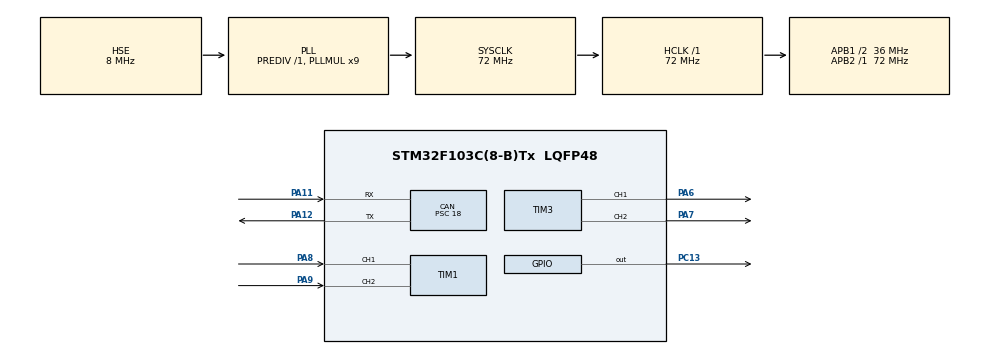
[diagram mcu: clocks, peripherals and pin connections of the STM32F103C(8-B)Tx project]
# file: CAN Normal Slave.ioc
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CAN.BS1=CAN_BS1_2TQ
CAN.CalculateBaudRate=500000
CAN.CalculateTimeBit=2000
CAN.CalculateTimeQuantum=500.0
CAN.Prescaler=18
Mcu.Family=STM32F1
Mcu.Name=STM32F103C(8-B)Tx
Mcu.Package=LQFP48
NVIC.CAN1_RX1_IRQn=true\:0\:0\:false\:false\:true\:true\:true\:true
NVIC.PriorityGroup=NVIC_PRIORITYGROUP_4
NVIC.TIM1_BRK_IRQn=true\:0\:0\:false\:false\:true\:true\:true\:true
NVIC.TIM1_UP_IRQn=true\:0\:0\:false\:false\:true\:true\:true\:true
NVIC.TIM3_IRQn=true\:0\:0\:false\:false\:true\:true\:true\:true
PA11.Mode=CAN_Activate
PA11.Signal=CAN_RX
PA12.Mode=CAN_Activate
PA12.Signal=CAN_TX
PA13.Mode=Serial_Wire
PA13.Signal=SYS_JTMS-SWDIO
PA14.Mode=Serial_Wire
PA14.Signal=SYS_JTCK-SWCLK
PA6.Signal=S_TIM3_CH1
PA7.Signal=S_TIM3_CH2
PA8.Signal=S_TIM1_CH1
PA9.Signal=S_TIM1_CH2
PC13-TAMPER-RTC.Signal=GPIO_Output
PD0-OSC_IN.Mode=HSE-External-Oscillator
PD0-OSC_IN.Signal=RCC_OSC_IN
PD1-OSC_OUT.Mode=HSE-External-Oscillator
PD1-OSC_OUT.Signal=RCC_OSC_OUT
ProjectManager.HeapSize=0x200
ProjectManager.StackSize=0x400
ProjectManager.TargetToolchain=MDK-ARM V5.32
RCC.AHBFreq_Value=72000000
RCC.APB1CLKDivider=RCC_HCLK_DIV2
RCC.APB1Freq_Value=36000000
RCC.APB1TimFreq_Value=72000000
RCC.APB2Freq_Value=72000000
RCC.APB2TimFreq_Value=72000000
RCC.HCLKFreq_Value=72000000
RCC.PLLMUL=RCC_PLL_MUL9
RCC.PLLSourceVirtual=RCC_PLLSOURCE_HSE
RCC.SYSCLKFreq_VALUE=72000000
RCC.SYSCLKSource=RCC_SYSCLKSOURCE_PLLCLK
RCC.USBFreq_Value=72000000
SH.S_TIM1_CH1.0=TIM1_CH1,Encoder_Interface
SH.S_TIM1_CH2.0=TIM1_CH2,Encoder_Interface
SH.S_TIM3_CH1.0=TIM3_CH1,PWM Generation1 CH1
SH.S_TIM3_CH2.0=TIM3_CH2,PWM Generation2 CH2
TIM3.Channel-PWM\ Generation1\ CH1=TIM_CHANNEL_1
TIM3.Channel-PWM\ Generation2\ CH2=TIM_CHANNEL_2
board=custom

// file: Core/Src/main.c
/* USER CODE BEGIN Header */
/**
  ******************************************************************************
  * @file           : main.c
  * @brief          : Main program body
  ******************************************************************************
  * @attention
  *
  * Copyright (c) 2022 STMicroelectronics.
  * All rights reserved.
  *
  * This software is licensed under terms that can be found in the LICENSE file
  * in the root directory of this software component.
  * If no LICENSE file comes with this software, it is provided AS-IS.
  *
  ******************************************************************************
  */
/* USER CODE END Header */
#include "main.h"

/* USER CODE BEGIN Includes */
float a;int b,check;
#include "stdio.h"
#include "string.h"
/* USER CODE END Includes */

CAN_HandleTypeDef hcan;

TIM_HandleTypeDef htim1;
TIM_HandleTypeDef htim3;

/* USER CODE BEGIN PV */
int echo=0;                                               ////////////////////////////////////////////////
long int enc01;
long int targetPosition =0; //the PID will try to reach this value
long int motorPosition = 0;
float proportional =20; //k_p = 0.5
float integral = 0.0003; //k_i = 3
float derivative =330; //k_d = 1
double controlSignal = 0; //u - Also called as process variable (PV)
//-----------------------------------
//-----------------------------------
//PID-related
float previousTime = 0; //for calculating delta t
float previousError = 0; //for calculating the derivative (edot)
float errorIntegral = 0; //integral error
float currentTime = 0; //time in the moment of calculation
float deltaTime = 0; //time difference
float errorValue = 0; //error
float edot = 0; //derivative (de/dt)
/* USER CODE END PV */

void SystemClock_Config(void);
static void MX_GPIO_Init(void);
static void MX_CAN_Init(void);
static void MX_TIM3_Init(void);
static void MX_TIM1_Init(void);
/* USER CODE BEGIN PFP */
void calculatePID();

/* USER CODE END PFP */

/* USER CODE BEGIN 0 */

CAN_TxHeaderTypeDef   TxHeader;
CAN_RxHeaderTypeDef   RxHeader;
uint8_t               TxData[3];
uint8_t               RxData[9];
uint8_t               re[3];
uint32_t              TxMailbox;
int datacheck=0;
int recev;
void func(void);
int angle=0,aout;

void func(void)
{
	angle=(re[0]*100)+(re[1]*10)+(re[2]*1);
	if(angle>=0&&angle<=180){targetPosition =228.85*angle;}
}
void HAL_CAN_RxFifo1MsgPendingCallback(CAN_HandleTypeDef *hcan)
{
	recev=1;
	HAL_CAN_GetRxMessage(hcan,CAN_RX_FIFO1,&RxHeader,RxData);
	re[0]=RxData[0];
	re[1]=RxData[1];
	re[2]=RxData[2];
	func();
	   }

/* USER CODE END 0 */

int main(void)
{

  /* MCU Configuration--------------------------------------------------------*/

  /* Reset of all peripherals, Initializes the Flash interface and the Systick. */
  HAL_Init();

  /* Configure the system clock */
  SystemClock_Config();

  /* Initialize all configured peripherals */
  MX_GPIO_Init();
  MX_CAN_Init();
  MX_TIM3_Init();
  MX_TIM1_Init();
  /* USER CODE BEGIN 2 */

//HAL_CAN_Init(&hcan);
  HAL_CAN_Start(&hcan);
HAL_CAN_ActivateNotification(&hcan, CAN_IT_RX_FIFO1_MSG_PENDING);
TxHeader.DLC =3;
RxHeader.DLC =9;
TxHeader.IDE = CAN_ID_STD;
TxHeader.RTR = CAN_RTR_DATA;
TxHeader.StdId = 0x124;
TxHeader.TransmitGlobalTime=DISABLE;
TxHeader.ExtId=0;

 HAL_TIM_Encoder_Start(&htim1, TIM_CHANNEL_ALL);
  HAL_TIM_PWM_Start(&htim3, TIM_CHANNEL_1);
  HAL_TIM_PWM_Start(&htim3, TIM_CHANNEL_2);
  TIM3->CCR2 = 0;
  TIM3->CCR1 = 0;
  TIM1->CNT=32768;
  /* USER CODE END 2 */

  /* Infinite loop */
  /* USER CODE BEGIN WHILE */
	int i=0;
  while (1)
  {
    /* USER CODE END WHILE */

    /* USER CODE BEGIN 3 */

		//HAL_CAN_AddTxMessage(&hcan,&TxHeader,TxData,&TxMailbox);
	if(datacheck==50)
	{
		if(motorPosition>=0){
	 aout=motorPosition/228.85;
			 TxData[0]=(uint8_t)aout/100;
		   TxData[1]=(uint8_t)(aout/10)%10;
		   TxData[2]=(uint8_t)aout%10;
	     HAL_CAN_AddTxMessage(&hcan,&TxHeader,TxData,&TxMailbox);

		}
		datacheck=0;
	}
			 datacheck++;
		  func();
		          enc01=((TIM1->CNT));
	            TIM1->CNT=32768;
	             motorPosition=motorPosition+(enc01-32768);
		           calculatePID();
	             	HAL_Delay(10);
	            if(controlSignal>=0)
	            {
	            	if((int)controlSignal>65530)
	            	{
	            		TIM3->CCR2 = 0;
	            		TIM3->CCR1 = 65535;
	            	}
	            	else
	            	{
	            		TIM3->CCR2 = 0;
	            		TIM3->CCR1 = (int)controlSignal;
	            	}
	            }
	            else
	            {
	            	if((int)controlSignal<-65530)
	            	{
	            		TIM3->CCR1 = 0;
	            		TIM3->CCR2 = 65535;
	            	}
	            	else
	            	{
	            		TIM3->CCR1 = 0;
	            		TIM3->CCR2 = -(int)controlSignal;
	            	}
	            	//TIM3->CCR1 = 0;
	            	//TIM3->CCR2 = -(int)controlSignal;
	            }

		/*

		*/
							HAL_Delay(1);
  }
  /* USER CODE END 3 */
}

void SystemClock_Config(void)
{
  RCC_OscInitTypeDef RCC_OscInitStruct = {0};
  RCC_ClkInitTypeDef RCC_ClkInitStruct = {0};

  /** Initializes the RCC Oscillators according to the specified parameters
  * in the RCC_OscInitTypeDef structure.
  */
  RCC_OscInitStruct.OscillatorType = RCC_OSCILLATORTYPE_HSE;
  RCC_OscInitStruct.HSEState = RCC_HSE_ON;
  RCC_OscInitStruct.HSEPredivValue = RCC_HSE_PREDIV_DIV1;
  RCC_OscInitStruct.HSIState = RCC_HSI_ON;
  RCC_OscInitStruct.PLL.PLLState = RCC_PLL_ON;
  RCC_OscInitStruct.PLL.PLLSource = RCC_PLLSOURCE_HSE;
  RCC_OscInitStruct.PLL.PLLMUL = RCC_PLL_MUL9;
  if (HAL_RCC_OscConfig(&RCC_OscInitStruct) != HAL_OK)
  {
    Error_Handler();
  }

  /** Initializes the CPU, AHB and APB buses clocks
  */
  RCC_ClkInitStruct.ClockType = RCC_CLOCKTYPE_HCLK|RCC_CLOCKTYPE_SYSCLK
                              |RCC_CLOCKTYPE_PCLK1|RCC_CLOCKTYPE_PCLK2;
  RCC_ClkInitStruct.SYSCLKSource = RCC_SYSCLKSOURCE_PLLCLK;
  RCC_ClkInitStruct.AHBCLKDivider = RCC_SYSCLK_DIV1;
  RCC_ClkInitStruct.APB1CLKDivider = RCC_HCLK_DIV2;
  RCC_ClkInitStruct.APB2CLKDivider = RCC_HCLK_DIV1;

  if (HAL_RCC_ClockConfig(&RCC_ClkInitStruct, FLASH_LATENCY_2) != HAL_OK)
  {
    Error_Handler();
  }
}

static void MX_CAN_Init(void)
{

  hcan.Instance = CAN1;
  hcan.Init.Prescaler = 18;
  hcan.Init.Mode = CAN_MODE_NORMAL;
  hcan.Init.SyncJumpWidth = CAN_SJW_1TQ;
  hcan.Init.TimeSeg1 = CAN_BS1_2TQ;
  hcan.Init.TimeSeg2 = CAN_BS2_1TQ;
  hcan.Init.TimeTriggeredMode = DISABLE;
  hcan.Init.AutoBusOff = DISABLE;
  hcan.Init.AutoWakeUp = DISABLE;
  hcan.Init.AutoRetransmission = DISABLE;
  hcan.Init.ReceiveFifoLocked = DISABLE;
  hcan.Init.TransmitFifoPriority = DISABLE;
  if (HAL_CAN_Init(&hcan) != HAL_OK)
  {
    Error_Handler();
  }
  /* USER CODE BEGIN CAN_Init 2 */

 CAN_FilterTypeDef canfilterconfig;
  canfilterconfig.FilterActivation = CAN_FILTER_ENABLE;
  canfilterconfig.FilterBank =10;  // which filter bank to use from the assigned ones
  canfilterconfig.FilterFIFOAssignment = CAN_FILTER_FIFO1;
  canfilterconfig.FilterIdHigh = 0xFFFE<<5;//0x0000;//;
  canfilterconfig.FilterIdLow = 0x0000;
  canfilterconfig.FilterMaskIdHigh =0xFFFE<<5;////
  canfilterconfig.FilterMaskIdLow = 0x0000;
  canfilterconfig.FilterMode = CAN_FILTERMODE_IDMASK;
  canfilterconfig.FilterScale = CAN_FILTERSCALE_32BIT;
  canfilterconfig.SlaveStartFilterBank =13;  // how many filters to assign to the CAN1 (master can)

	HAL_CAN_ConfigFilter(&hcan,&canfilterconfig);
  /* USER CODE END CAN_Init 2 */

}

static void MX_TIM1_Init(void)
{

  TIM_Encoder_InitTypeDef sConfig = {0};
  TIM_MasterConfigTypeDef sMasterConfig = {0};

  htim1.Instance = TIM1;
  htim1.Init.Prescaler = 0;
  htim1.Init.CounterMode = TIM_COUNTERMODE_UP;
  htim1.Init.Period = 65535;
  htim1.Init.ClockDivision = TIM_CLOCKDIVISION_DIV1;
  htim1.Init.RepetitionCounter = 0;
  htim1.Init.AutoReloadPreload = TIM_AUTORELOAD_PRELOAD_DISABLE;
  sConfig.EncoderMode = TIM_ENCODERMODE_TI1;
  sConfig.IC1Polarity = TIM_ICPOLARITY_RISING;
  sConfig.IC1Selection = TIM_ICSELECTION_DIRECTTI;
  sConfig.IC1Prescaler = TIM_ICPSC_DIV1;
  sConfig.IC1Filter = 0;
  sConfig.IC2Polarity = TIM_ICPOLARITY_RISING;
  sConfig.IC2Selection = TIM_ICSELECTION_DIRECTTI;
  sConfig.IC2Prescaler = TIM_ICPSC_DIV1;
  sConfig.IC2Filter = 0;
  if (HAL_TIM_Encoder_Init(&htim1, &sConfig) != HAL_OK)
  {
    Error_Handler();
  }
  sMasterConfig.MasterOutputTrigger = TIM_TRGO_RESET;
  sMasterConfig.MasterSlaveMode = TIM_MASTERSLAVEMODE_DISABLE;
  if (HAL_TIMEx_MasterConfigSynchronization(&htim1, &sMasterConfig) != HAL_OK)
  {
    Error_Handler();
  }

}

static void MX_TIM3_Init(void)
{

  TIM_MasterConfigTypeDef sMasterConfig = {0};
  TIM_OC_InitTypeDef sConfigOC = {0};

  htim3.Instance = TIM3;
  htim3.Init.Prescaler = 0;
  htim3.Init.CounterMode = TIM_COUNTERMODE_UP;
  htim3.Init.Period = 65535;
  htim3.Init.ClockDivision = TIM_CLOCKDIVISION_DIV1;
  htim3.Init.AutoReloadPreload = TIM_AUTORELOAD_PRELOAD_DISABLE;
  if (HAL_TIM_PWM_Init(&htim3) != HAL_OK)
  {
    Error_Handler();
  }
  sMasterConfig.MasterOutputTrigger = TIM_TRGO_RESET;
  sMasterConfig.MasterSlaveMode = TIM_MASTERSLAVEMODE_DISABLE;
  if (HAL_TIMEx_MasterConfigSynchronization(&htim3, &sMasterConfig) != HAL_OK)
  {
    Error_Handler();
  }
  sConfigOC.OCMode = TIM_OCMODE_PWM1;
  sConfigOC.Pulse = 0;
  sConfigOC.OCPolarity = TIM_OCPOLARITY_HIGH;
  sConfigOC.OCFastMode = TIM_OCFAST_DISABLE;
  if (HAL_TIM_PWM_ConfigChannel(&htim3, &sConfigOC, TIM_CHANNEL_1) != HAL_OK)
  {
    Error_Handler();
  }
  if (HAL_TIM_PWM_ConfigChannel(&htim3, &sConfigOC, TIM_CHANNEL_2) != HAL_OK)
  {
    Error_Handler();
  }
  HAL_TIM_MspPostInit(&htim3);

}

static void MX_GPIO_Init(void)
{
  GPIO_InitTypeDef GPIO_InitStruct = {0};

  /* GPIO Ports Clock Enable */
  __HAL_RCC_GPIOC_CLK_ENABLE();
  __HAL_RCC_GPIOD_CLK_ENABLE();
  __HAL_RCC_GPIOA_CLK_ENABLE();

  /*Configure GPIO pin Output Level */
  HAL_GPIO_WritePin(GPIOC, GPIO_PIN_13, GPIO_PIN_RESET);

  /*Configure GPIO pin : PC13 */
  GPIO_InitStruct.Pin = GPIO_PIN_13;
  GPIO_InitStruct.Mode = GPIO_MODE_OUTPUT_PP;
  GPIO_InitStruct.Pull = GPIO_NOPULL;
  GPIO_InitStruct.Speed = GPIO_SPEED_FREQ_LOW;
  HAL_GPIO_Init(GPIOC, &GPIO_InitStruct);

}

/* USER CODE BEGIN 4 */
void calculatePID()
{
	//int currentTime,deltaTime,previousTime,motorPosition,targetPosition
  //Determining the elapsed time
  currentTime = HAL_GetTick(); //current time
  deltaTime = (currentTime - previousTime);  //time difference in seconds
  previousTime = currentTime; //save the current time for the next iteration to get the time difference
  //---
  errorValue = motorPosition - targetPosition; //Current position - target position (or setpoint)

  edot = (errorValue - previousError) / deltaTime; //edot = de/dt - derivative term

  errorIntegral = errorIntegral + (errorValue * deltaTime); //integral term - Newton-Leibniz, notice, this is a running sum!

  controlSignal = (proportional * errorValue) + (derivative * edot) + (integral * errorIntegral); //final sum, proportional term also calculated here

  previousError = errorValue; //save the error for the next iteration to get the difference (for edot)
}
/* USER CODE END 4 */

void Error_Handler(void)
{
  __disable_irq();
  while (1)
  {
  }
}
